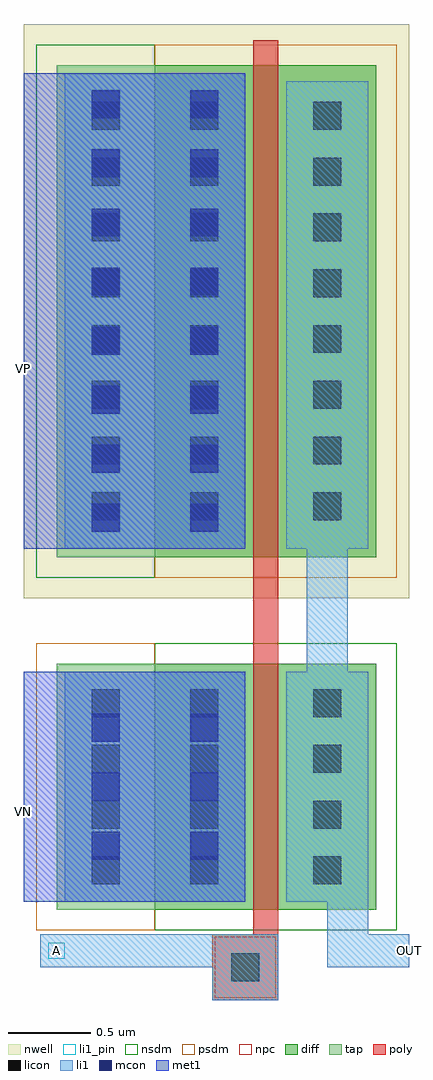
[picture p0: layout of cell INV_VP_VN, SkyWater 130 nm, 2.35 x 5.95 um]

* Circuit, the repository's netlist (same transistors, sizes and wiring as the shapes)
* NGSPICE file created from INV_VP_VN.ext - technology: sky130A

.subckt INV_VP_VN A OUT VP VN
X0 OUT A VN VN sky130_fd_pr__nfet_01v8 ad=9e+11p pd=4.2e+06u as=9e+11p ps=4.2e+06u w=1.5e+06u l=150000u
X1 OUT A VP VP sky130_fd_pr__pfet_01v8 ad=1.8e+12p pd=7.2e+06u as=1.8e+12p ps=7.2e+06u w=3e+06u l=150000u
.ends

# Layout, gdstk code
import gdstk
lib = gdstk.Library(unit=1e-6, precision=1e-09)
def R(c, l, rs):  # rectangles x0, y0, x1, y1
    for r in rs: c.add(gdstk.rectangle(r[:2], r[2:], *l))
def A(c, l, x, y, w, h, nx, ny, dx, dy):  # array of equal rectangles
    R(c, l, [(x+i*dx, y+j*dy, x+i*dx+w, y+j*dy+h) for i in range(nx) for j in range(ny)])
nwell = (64, 20)
diff = (65, 20)
tap = (65, 44)
poly = (66, 20)
licon = (66, 44)
li1_pin = (67, 16)
li1 = (67, 20)
mcon = (67, 44)
met1 = (68, 20)
nsdm = (93, 44)
psdm = (94, 20)
npc = (95, 20)

inv_vp_vn = lib.new_cell('INV_VP_VN')
R(inv_vp_vn, nwell, [(-12.6,6.5,-10.25,10)])
R(inv_vp_vn, diff, [(-11.8,4.6,-10.45,6.1), (-11.8,6.75,-10.45,9.75)])
R(inv_vp_vn, tap, [(-12.4,4.6,-11.8,6.1), (-12.4,6.75,-11.8,9.75)])
R(inv_vp_vn, poly, [(-11.45,4.05,-11.05,4.45), (-11.2,4.45,-11.05,4.5), (-11.2,4.5,-11.05,9.9)])
A(inv_vp_vn, licon, -12.185, 4.755, 0.17, 0.17, 1, 4, 0, 0.34)
A(inv_vp_vn, licon, -11.585, 4.755, 0.17, 0.17, 1, 4, 0, 0.34)
A(inv_vp_vn, licon, -10.835, 4.755, 0.17, 0.17, 1, 4, 0, 0.34)
A(inv_vp_vn, licon, -12.185, 6.975, 0.17, 0.17, 1, 8, 0, 0.34)
A(inv_vp_vn, licon, -11.585, 6.975, 0.17, 0.17, 1, 8, 0, 0.34)
A(inv_vp_vn, licon, -10.835, 6.975, 0.17, 0.17, 1, 8, 0, 0.34)
R(inv_vp_vn, licon, [(-11.335,4.165,-11.165,4.335)])
R(inv_vp_vn, li1_pin, [(-12.45,4.3,-12.35,4.4)])
R(inv_vp_vn, li1, [(-11.45,4.05,-11.05,4.25), (-12.5,4.25,-11.05,4.45), (-10.75,4.25,-10.25,4.45), (-10.75,4.45,-10.5,4.65), (-12.35,4.65,-11.25,6.05), (-11,4.65,-10.5,6.05), (-12.35,6.8,-11.25,9.7), (-11,6.8,-10.5,9.65)])
A(inv_vp_vn, mcon, -12.185, 4.905, 0.17, 0.17, 1, 3, 0, 0.36)
A(inv_vp_vn, mcon, -11.585, 4.905, 0.17, 0.17, 1, 3, 0, 0.36)
A(inv_vp_vn, mcon, -12.185, 6.905, 0.17, 0.17, 1, 8, 0, 0.36)
A(inv_vp_vn, mcon, -11.585, 6.905, 0.17, 0.17, 1, 8, 0, 0.36)
R(inv_vp_vn, met1, [(-12.6,4.65,-11.25,6.05), (-12.6,6.8,-11.25,9.7)])
R(inv_vp_vn, nsdm, [(-11.8,4.475,-10.325,6.225), (-12.525,6.625,-11.8,9.875)])
R(inv_vp_vn, psdm, [(-12.525,4.475,-11.8,6.225), (-11.8,6.625,-10.325,9.875)])
R(inv_vp_vn, npc, [(-11.435,4.065,-11.065,4.435)])
inv_vp_vn.add(gdstk.FlexPath([(-10.75,6.8),(-10.75,6.05)], 0.25, ends="flush", simple_path=True, layer=67, datatype=20))  # li1
inv_vp_vn.add(gdstk.Label('VN', (-12.6,5.2), layer=68, texttype=16))
inv_vp_vn.add(gdstk.Label('VP', (-12.6,7.9), layer=68, texttype=16))
inv_vp_vn.add(gdstk.Label('A', (-12.4,4.35), layer=67, texttype=16))
inv_vp_vn.add(gdstk.Label('OUT', (-10.25,4.35), layer=67, texttype=16))

lib.write_gds('INV_VP_VN.gds')
